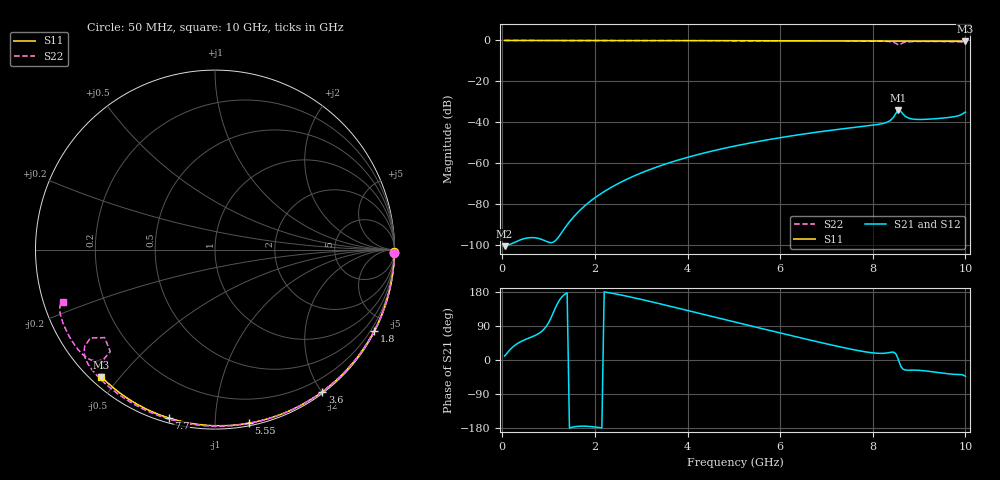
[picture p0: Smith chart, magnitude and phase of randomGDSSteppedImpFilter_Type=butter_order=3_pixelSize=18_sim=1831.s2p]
! freq	dB(S11)	phase(S11)	dB(S12)	phase(S12)
!  dB(S21)	phase(S21)	dB(S22)	phase(S22)
!S-par simulation data
#  GHz  S  DB  R 50
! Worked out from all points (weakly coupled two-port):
!   200 points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, 50 MHz to 10 GHz, reference 50 ohm
!   highest |S21| = -34.11 dB at 8.55 GHz (marker M1); lowest = -100.5 dB at 50 MHz (marker M2)
!   lowest |S11| = -0.4 dB at 10 GHz (marker M3), VSWR 39.37, Z = 1.52 - j22.4 ohm
!   |S11| at or under -10 dB: nowhere
!   |S22| runs from -2.1 to 0.0 dB; largest |S21 - S12| = 0
!   S11 on the Smith chart (normalised r, x): 50 MHz: open; 1.8 GHz: 0.04, -4.16; 3.6 GHz: 0.02, -2.01; 5.55 GHz: 0.02, -1.21; 7.7 GHz: 0.02, -0.76; 10 GHz: 0.03, -0.45
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0.05  -0.00 -0.8  -100.48 10.7  -100.48 10.7  -0.00 -0.9
0.9  -0.02 -13.6  -97.64 81.3  -97.64 81.3  -0.02 -16.6
1.75  -0.03 -26.3  -81.38 -174.6  -81.38 -174.6  -0.04 -31.9
1.8  -0.03 -27.1  -80.39 -174.7  -80.39 -174.7  -0.04 -32.8
2.5  -0.05 -37.3  -69.93 173.1  -69.93 173.1  -0.06 -45.2
3.4  -0.07 -50.1  -61.30 148.5  -61.30 148.5  -0.08 -60.6
3.6  -0.07 -52.9  -59.79 142.6  -59.79 142.6  -0.09 -63.9
5.05  -0.11 -72.5  -51.43 99.3  -51.43 99.3  -0.13 -87.4
5.55  -0.13 -78.9  -49.24 84.6  -49.24 84.6  -0.16 -95.2
6.7  -0.18 -93.3  -45.08 51.1  -45.08 51.1  -0.22 -112.6
7.7  -0.24 -105.4  -42.23 24.5  -42.23 24.5  -0.30 -127.9
8.15  -0.27 -110.6  -40.88 17.5  -40.88 17.5  -0.37 -135.5
8.35  -0.29 -113.0  -39.47 19.4  -39.47 19.4  -0.52 -140.1
8.45  -0.30 -114.1  -37.40 20.7  -37.40 20.7  -0.88 -143.5
8.5  -0.30 -114.7  -35.61 16.2  -35.61 16.2  -1.40 -144.6
8.55  -0.30 -115.2  -34.11 2.1  -34.11 2.1  -2.09 -141.4
8.6  -0.30 -115.8  -34.50 -15.2  -34.50 -15.2  -1.79 -135.8
8.65  -0.31 -116.4  -35.88 -23.9  -35.88 -23.9  -1.16 -135.4
8.75  -0.32 -117.6  -37.69 -26.9  -37.69 -26.9  -0.67 -138.4
8.95  -0.34 -119.9  -38.57 -26.9  -38.57 -26.9  -0.50 -143.1
9.75  -0.42 -128.9  -37.27 -37.7  -37.27 -37.7  -0.58 -157.0
10  -0.44 -131.7  -34.96 -42.9  -34.96 -42.9  -0.93 -161.0
